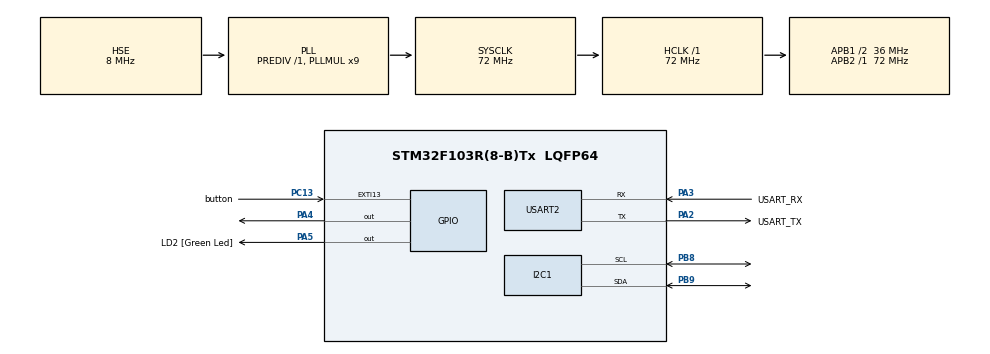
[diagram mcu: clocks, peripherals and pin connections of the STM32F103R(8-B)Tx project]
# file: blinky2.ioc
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I2C1.I2C_Mode=I2C_Fast
Mcu.Family=STM32F1
Mcu.Name=STM32F103R(8-B)Tx
Mcu.Package=LQFP64
NVIC.EXTI15_10_IRQn=true\:0\:0\:false\:false\:true\:true\:true\:true
NVIC.PriorityGroup=NVIC_PRIORITYGROUP_4
NVIC.USART2_IRQn=true\:1\:0\:false\:false\:true\:true\:true\:true
PA13.GPIO_Label=TMS
PA13.Mode=Trace_Asynchronous_SW
PA13.Signal=SYS_JTMS-SWDIO
PA14.GPIO_Label=TCK
PA14.Mode=Trace_Asynchronous_SW
PA14.Signal=SYS_JTCK-SWCLK
PA2.GPIO_Label=USART_TX
PA2.GPIO_Mode=GPIO_MODE_AF_PP
PA2.GPIO_PuPd=GPIO_NOPULL
PA2.GPIO_Speed=GPIO_SPEED_FREQ_LOW
PA2.Mode=Asynchronous
PA2.Signal=USART2_TX
PA3.GPIO_Label=USART_RX
PA3.GPIO_Mode=GPIO_MODE_INPUT
PA3.GPIO_PuPd=GPIO_NOPULL
PA3.GPIO_Speed=GPIO_SPEED_FREQ_LOW
PA3.Mode=Asynchronous
PA3.Signal=USART2_RX
PA4.PinState=GPIO_PIN_SET
PA4.Signal=GPIO_Output
PA5.GPIO_Label=LD2 [Green Led]
PA5.GPIO_ModeDefaultOutputPP=GPIO_MODE_OUTPUT_PP
PA5.GPIO_PuPd=GPIO_NOPULL
PA5.GPIO_Speed=GPIO_SPEED_FREQ_LOW
PA5.Signal=GPIO_Output
PB3.GPIO_Label=SWO
PB3.Mode=Trace_Asynchronous_SW
PB3.Signal=SYS_JTDO-TRACESWO
PB8.Mode=I2C
PB8.Signal=I2C1_SCL
PB9.Mode=I2C
PB9.Signal=I2C1_SDA
PC13-TAMPER-RTC.GPIO_Label=button
PC13-TAMPER-RTC.Signal=GPXTI13
PC14-OSC32_IN.Mode=LSE-External-Oscillator
PC14-OSC32_IN.Signal=RCC_OSC32_IN
PC15-OSC32_OUT.Mode=LSE-External-Oscillator
PC15-OSC32_OUT.Signal=RCC_OSC32_OUT
PD0-OSC_IN.Mode=HSE-External-Clock-Source
PD0-OSC_IN.Signal=RCC_OSC_IN
PD1-OSC_OUT.Mode=HSE-External-Clock-Source
PD1-OSC_OUT.Signal=RCC_OSC_OUT
ProjectManager.HeapSize=0x200
ProjectManager.StackSize=0x400
ProjectManager.TargetToolchain=CMake
RCC.AHBFreq_Value=72000000
RCC.APB1CLKDivider=RCC_HCLK_DIV2
RCC.APB1Freq_Value=36000000
RCC.APB1TimFreq_Value=72000000
RCC.APB2Freq_Value=72000000
RCC.APB2TimFreq_Value=72000000
RCC.HCLKFreq_Value=72000000
RCC.PLLMUL=RCC_PLL_MUL9
RCC.PLLSourceVirtual=RCC_PLLSOURCE_HSE
RCC.RTCClockSelection=RCC_RTCCLKSOURCE_LSE
RCC.SYSCLKFreq_VALUE=72000000
RCC.SYSCLKSource=RCC_SYSCLKSOURCE_PLLCLK
RCC.USBFreq_Value=72000000
USART2.VirtualMode=VM_ASYNC
board=NUCLEO-F103RB

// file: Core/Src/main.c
/* USER CODE BEGIN Header */
/**
  ******************************************************************************
  * @file           : main.c
  * @brief          : Main program body
  ******************************************************************************
  * @attention
  *
  * Copyright (c) 2026 STMicroelectronics.
  * All rights reserved.
  *
  * This software is licensed under terms that can be found in the LICENSE file
  * in the root directory of this software component.
  * If no LICENSE file comes with this software, it is provided AS-IS.
  *
  ******************************************************************************
  */
/* USER CODE END Header */
#include "main.h"
#include "i2c.h"
#include "usart.h"
#include "gpio.h"

/* USER CODE BEGIN Includes */
#include "i2c_receive.h"
#include <string.h>
#include <stdlib.h>
#include <stdio.h>
/* USER CODE END Includes */

/* USER CODE BEGIN PV */
volatile HAL_StatusTypeDef i2c1_ready = HAL_ERROR;
volatile HAL_StatusTypeDef i2c1_read_status = HAL_ERROR;
volatile uint32_t i2c1_error = HAL_I2C_ERROR_NONE;
uint8_t receive_buffer[GPS_MESSAGE_LEN + 1];
volatile uint8_t gps_parse_ok = 0;
volatile float gps_latitude = 0.0f;
volatile float gps_longitude = 0.0f;
volatile uint16_t gps_dollar_count = 0;
volatile uint8_t gps_gga_found = 0;

/* Debugger controls/telemetry.  Change dbg_gps_safeboot_enabled while halted;
 * the main loop applies the requested state and refreshes dbg_pa4_state. */
volatile uint8_t dbg_gps_safeboot_enabled = 0U;
volatile GPIO_PinState dbg_pa4_state = GPIO_PIN_RESET;
volatile uint32_t dbg_gps_rx_bytes = 0U;
volatile uint32_t dbg_gps_rx_messages = 0U;
volatile uint32_t dbg_gps_uart_errors = 0U;
volatile uint32_t dbg_gps_last_rx_tick = 0U;
/* 0=startup, 1=GPIO initialized, 2=SAFEBOOT applied, 3=reset released,
 * 4=UART started, 5=GPS UART data received.  Stage 3 is unused because this
 * board configuration has no MCU-controlled GPS reset pin. */
volatile uint32_t dbg_gps_boot_stage = 0U;
static uint8_t gps_uart_rx_byte;
/* USER CODE END PV */

void SystemClock_Config(void);

/* USER CODE BEGIN 0 */
static float nmea_coord_to_decimal(float nmea_coord)
{
  int degrees = (int)(nmea_coord / 100.0f);
  float minutes = nmea_coord - ((float)degrees * 100.0f);

  return (float)degrees + (minutes / 60.0f);
}

static char *find_gga_sentence(uint8_t *buffer, size_t len)
{
  const char gngga[] = "$GNGGA";
  const char gpgga[] = "$GPGGA";
  size_t sentence_id_len = sizeof(gngga) - 1;

  if (len < sentence_id_len) return NULL;

  for (size_t i = 0; i <= len - sentence_id_len; i++)
  {
    if (memcmp(&buffer[i], gngga, sentence_id_len) == 0 ||
        memcmp(&buffer[i], gpgga, sentence_id_len) == 0)
    {
      return (char *)&buffer[i];
    }
  }

  return NULL;
}

static uint8_t parse_gga_lat_lon(uint8_t *buffer, size_t len, float *latitude, float *longitude)
{
  char *gga = find_gga_sentence(buffer, len);
  if (!gga) return 0;

  char sentence[120];
  char talker[8];
  char utc_time[16];
  char lat_raw_str[16];
  char lon_raw_str[16];
  char lat_side = '\0';
  char lon_side = '\0';

  size_t max_sentence_len = len - (size_t)(gga - (char *)buffer);
  size_t sentence_len = 0;

  while (sentence_len < max_sentence_len &&
         sentence_len < sizeof(sentence) - 1 &&
         gga[sentence_len] != '\r' &&
         gga[sentence_len] != '\n' &&
         gga[sentence_len] != '\0')
  {
    sentence_len++;
  }

  memcpy(sentence, gga, sentence_len);
  sentence[sentence_len] = '\0';

  int matched = sscanf(sentence, "$%7[^,],%15[^,],%15[^,],%c,%15[^,],%c",
                       talker, utc_time, lat_raw_str, &lat_side, lon_raw_str, &lon_side);

  if (matched != 6) return 0;

  float lat_raw = strtof(lat_raw_str, NULL);
  float lon_raw = strtof(lon_raw_str, NULL);

  if (lat_raw == 0.0f || lon_raw == 0.0f) return 0;

  float lat = nmea_coord_to_decimal(lat_raw);
  float lon = nmea_coord_to_decimal(lon_raw);

  if (lat_side == 'S') lat = -lat;
  if (lon_side == 'W') lon = -lon;

  *latitude = lat;
  *longitude = lon;

  return 1;
}

/* USER CODE END 0 */

int main(void)
{

  /* MCU Configuration--------------------------------------------------------*/

  /* Reset of all peripherals, Initializes the Flash interface and the Systick. */
  HAL_Init();

  /* Configure the system clock */
  SystemClock_Config();

  /* Initialize all configured peripherals */
  MX_GPIO_Init();
  /* Debug breakpoint: PA4 has just been configured as an output. */
  dbg_gps_boot_stage = 1U;
  GPS_Safeboot_Set(dbg_gps_safeboot_enabled != 0U);
  dbg_pa4_state = HAL_GPIO_ReadPin(GPIOA, GPIO_PIN_4);
  dbg_gps_boot_stage = 2U;
  MX_USART2_UART_Init();
  if (HAL_UART_Receive_IT(&huart2, &gps_uart_rx_byte, 1U) == HAL_OK)
  {
    dbg_gps_boot_stage = 4U;
  }
  else
  {
    dbg_gps_uart_errors++;
  }
  MX_I2C1_Init();
  /* USER CODE BEGIN 2 */
  HAL_Delay(5000);
  i2c1_ready = gps_check_ready();
  if (i2c1_ready == HAL_OK)
  {
    gps_config_status = gps_configure_nmea_250ms();
    HAL_Delay(500);
  }
  i2c1_error = HAL_I2C_GetError(&hi2c1);
  HAL_GPIO_WritePin(LD2_GPIO_Port, LD2_Pin, (i2c1_ready == HAL_OK) ? GPIO_PIN_SET : GPIO_PIN_RESET);
  /* USER CODE END 2 */

  /* Infinite loop */
  while (1)
  {

    /* USER CODE BEGIN 3 */
    GPS_Safeboot_Set(dbg_gps_safeboot_enabled != 0U);
    dbg_pa4_state = HAL_GPIO_ReadPin(GPIOA, GPIO_PIN_4);

    memset(receive_buffer, 0, sizeof(receive_buffer));

    i2c1_read_status = read_i2c_gps_module(receive_buffer);
    receive_buffer[GPS_MESSAGE_LEN] = '\0';
    i2c1_error = HAL_I2C_GetError(&hi2c1);
    gps_dollar_count = 0;
    for (size_t i = 0; i < GPS_MESSAGE_LEN; i++)
    {
      if (receive_buffer[i] == '$') gps_dollar_count++;
    }
    gps_gga_found = (find_gga_sentence(receive_buffer, GPS_MESSAGE_LEN) != NULL);

    if (i2c1_read_status == HAL_OK) HAL_GPIO_WritePin(LD2_GPIO_Port, LD2_Pin, GPIO_PIN_SET);
    else HAL_GPIO_WritePin(LD2_GPIO_Port, LD2_Pin, GPIO_PIN_RESET);

    if (i2c1_read_status == HAL_OK)
    {
      gps_parse_ok = parse_gga_lat_lon(receive_buffer, GPS_MESSAGE_LEN,
                                       (float *)&gps_latitude,
                                       (float *)&gps_longitude);
    }
    else
    {
      gps_parse_ok = 0;
    }

    HAL_Delay(250);
  }
  /* USER CODE END 3 */
}

void SystemClock_Config(void)
{
  RCC_OscInitTypeDef RCC_OscInitStruct = {0};
  RCC_ClkInitTypeDef RCC_ClkInitStruct = {0};

  /** Initializes the RCC Oscillators according to the specified parameters
  * in the RCC_OscInitTypeDef structure.
  */
  RCC_OscInitStruct.OscillatorType = RCC_OSCILLATORTYPE_HSE;
  RCC_OscInitStruct.HSEState = RCC_HSE_BYPASS;
  RCC_OscInitStruct.HSEPredivValue = RCC_HSE_PREDIV_DIV1;
  RCC_OscInitStruct.HSIState = RCC_HSI_ON;
  RCC_OscInitStruct.PLL.PLLState = RCC_PLL_ON;
  RCC_OscInitStruct.PLL.PLLSource = RCC_PLLSOURCE_HSE;
  RCC_OscInitStruct.PLL.PLLMUL = RCC_PLL_MUL9;
  if (HAL_RCC_OscConfig(&RCC_OscInitStruct) != HAL_OK)
  {
    Error_Handler();
  }

  /** Initializes the CPU, AHB and APB buses clocks
  */
  RCC_ClkInitStruct.ClockType = RCC_CLOCKTYPE_HCLK|RCC_CLOCKTYPE_SYSCLK
                              |RCC_CLOCKTYPE_PCLK1|RCC_CLOCKTYPE_PCLK2;
  RCC_ClkInitStruct.SYSCLKSource = RCC_SYSCLKSOURCE_PLLCLK;
  RCC_ClkInitStruct.AHBCLKDivider = RCC_SYSCLK_DIV1;
  RCC_ClkInitStruct.APB1CLKDivider = RCC_HCLK_DIV2;
  RCC_ClkInitStruct.APB2CLKDivider = RCC_HCLK_DIV1;

  if (HAL_RCC_ClockConfig(&RCC_ClkInitStruct, FLASH_LATENCY_2) != HAL_OK)
  {
    Error_Handler();
  }
}

/* USER CODE BEGIN 4 */

void HAL_UART_RxCpltCallback(UART_HandleTypeDef *huart)
{
  if (huart->Instance == USART2)
  {
    dbg_gps_rx_bytes++;
    dbg_gps_last_rx_tick = HAL_GetTick();
    dbg_gps_boot_stage = 5U;
    if (gps_uart_rx_byte == '\n')
    {
      dbg_gps_rx_messages++;
    }

    if (HAL_UART_Receive_IT(huart, &gps_uart_rx_byte, 1U) != HAL_OK)
    {
      dbg_gps_uart_errors++;
    }
  }
}

void HAL_UART_ErrorCallback(UART_HandleTypeDef *huart)
{
  if (huart->Instance == USART2)
  {
    dbg_gps_uart_errors++;
    (void)HAL_UART_Receive_IT(huart, &gps_uart_rx_byte, 1U);
  }
}

/* USER CODE END 4 */

void Error_Handler(void)
{
  __disable_irq();
  while (1)
  {
  }
}
